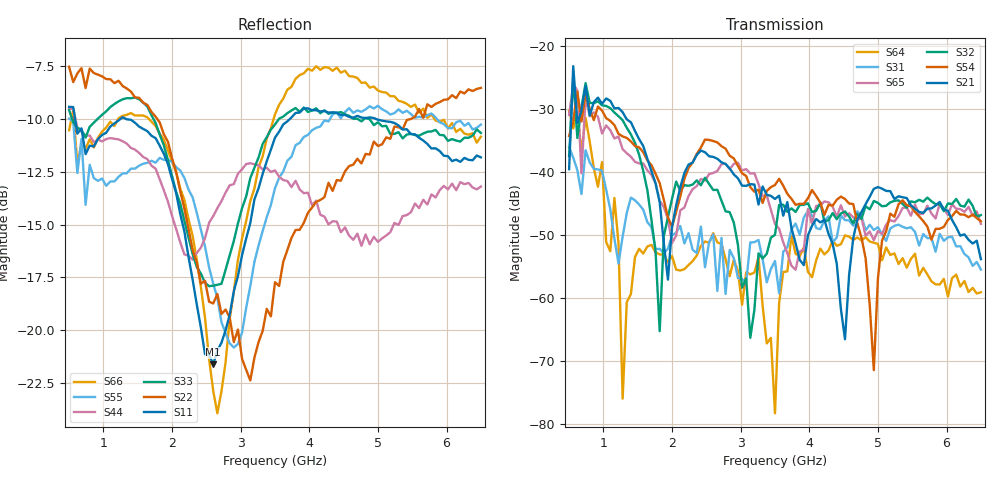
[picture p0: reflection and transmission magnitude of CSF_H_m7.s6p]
!Keysight Technologies,M9804A,MY58100912,A.14.10.03
!Date: Thursday, April 27, 2023 10:28:33
!Correction: S11(C  6-Port  )
!S12(C  6-Port  )
!S13(C  6-Port  )
!S14(C  6-Port  )
!S15(C  6-Port  )
!S16(C  6-Port  )
!S21(C  6-Port  )
!S22(C  6-Port  )
!S23(C  6-Port  )
!S24(C  6-Port  )
!S25(C  6-Port  )
!S26(C  6-Port  )
!S31(C  6-Port  )
!S32(C  6-Port  )
!S33(C  6-Port  )
!S34(C  6-Port  )
!S35(C  6-Port  )
!S36(C  6-Port  )
!S41(C  6-Port  )
!S42(C  6-Port  )
!S43(C  6-Port  )
!S44(C  6-Port  )
!S45(C  6-Port  )
!S46(C  6-Port  )
!S51(C  6-Port  )
!S52(C  6-Port  )
!S53(C  6-Port  )
!S54(C  6-Port  )
!S55(C  6-Port  )
!S56(C  6-Port  )
!S61(C  6-Port  )
!S62(C  6-Port  )
!S63(C  6-Port  )
!S64(C  6-Port  )
!S65(C  6-Port  )
!S66(C  6-Port  )
!S6P File: Measurement: :
# Hz S  RI  R 50
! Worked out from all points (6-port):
!   101 points, 500 MHz to 6.5 GHz, reference 50 ohm
!   strongest paths, dB at 500 MHz, 2 GHz, 3.5 GHz, 5 GHz, 6.5 GHz:
!     S21: -39.6, -48.8, -44.3, -42.4, -53.9
!     S54: -34.3, -48.7, -42.1, -56.9, -47.9
!     S32: -37.5, -44.3, -50.0, -45.0, -46.9
!     S65: -31.0, -51.3, -48.3, -49.4, -48.3
!     S31: -36.1, -50.1, -54.2, -48.8, -55.5
!     S64: -30.3, -53.4, -78.4, -51.5, -59.1
!   lowest |S11| = -21.6 dB at 2.6 GHz (marker M1), VSWR 1.18, Z = 42.6 + j2.05 ohm
!   |S11| at or under -10 dB: 587.1 MHz to 1.246 GHz (658.9 MHz wide, 71.9 % of centre); 1.334 GHz to 3.715 GHz (2.381 GHz wide, 94.3 % of centre); 4.977 GHz to end of sweep
